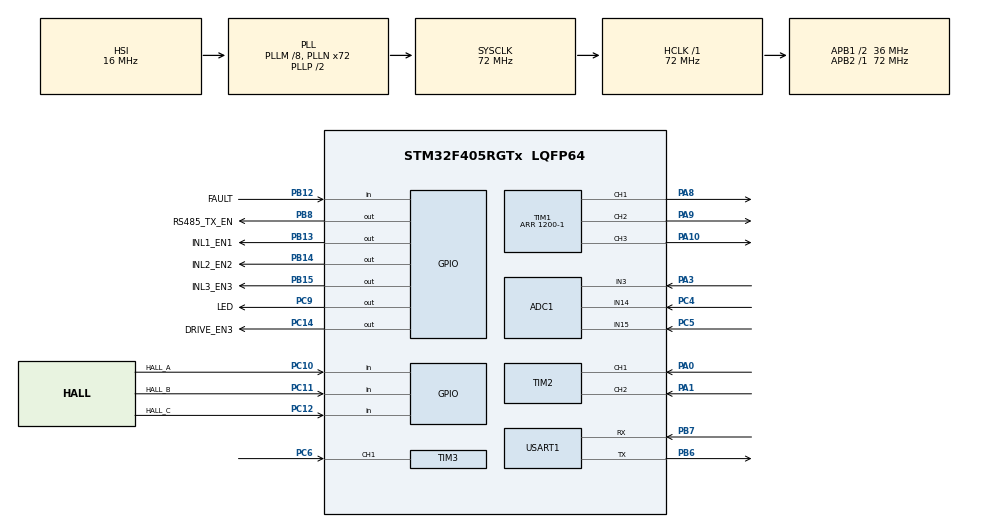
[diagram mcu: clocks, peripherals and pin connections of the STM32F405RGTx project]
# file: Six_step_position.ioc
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ADC1.Channel-0\#ChannelRegularConversion=ADC_CHANNEL_15
ADC1.Channel-10\#ChannelInjectedConversion=ADC_CHANNEL_15
ADC1.Channel-8\#ChannelInjectedConversion=ADC_CHANNEL_3
ADC1.Channel-9\#ChannelInjectedConversion=ADC_CHANNEL_14
ADC1.ClockPrescaler=ADC_CLOCK_SYNC_PCLK_DIV4
ADC1.ContinuousConvMode=DISABLE
ADC1.DMAContinuousRequests=DISABLE
ADC1.ExternalTrigInjecConv=ADC_EXTERNALTRIGINJECCONV_T1_TRGO
ADC1.InjNumberOfConversion=3
ADC1.InjectedOffset-10\#ChannelInjectedConversion=0
ADC1.InjectedOffset-8\#ChannelInjectedConversion=0
ADC1.InjectedOffset-9\#ChannelInjectedConversion=0
ADC1.InjectedRank-10\#ChannelInjectedConversion=3
ADC1.InjectedRank-8\#ChannelInjectedConversion=1
ADC1.InjectedRank-9\#ChannelInjectedConversion=2
ADC1.NbrOfConversion=1
ADC1.NbrOfConversionFlag=1
ADC1.Rank-0\#ChannelRegularConversion=1
ADC1.SamplingTime-0\#ChannelRegularConversion=ADC_SAMPLETIME_15CYCLES
ADC1.SamplingTime-10\#ChannelInjectedConversion=ADC_SAMPLETIME_28CYCLES
ADC1.SamplingTime-8\#ChannelInjectedConversion=ADC_SAMPLETIME_28CYCLES
ADC1.SamplingTime-9\#ChannelInjectedConversion=ADC_SAMPLETIME_28CYCLES
ADC1.master=1
Mcu.Family=STM32F4
Mcu.Name=STM32F405RGTx
Mcu.Package=LQFP64
NVIC.ADC_IRQn=true\:1\:0\:true\:false\:true\:true\:true\:true
NVIC.PriorityGroup=NVIC_PRIORITYGROUP_4
NVIC.TIM3_IRQn=true\:0\:0\:false\:false\:true\:true\:true\:true
NVIC.TIM6_DAC_IRQn=true\:2\:0\:true\:false\:true\:true\:true\:true
NVIC.USART1_IRQn=true\:0\:0\:false\:false\:true\:true\:true\:true
PA0-WKUP.Signal=S_TIM2_CH1_ETR
PA1.Signal=S_TIM2_CH2
PA10.Signal=S_TIM1_CH3
PA3.Signal=ADCx_IN3
PA8.Signal=S_TIM1_CH1
PA9.Signal=S_TIM1_CH2
PB12.GPIO_Label=FAULT
PB12.Signal=GPIO_Input
PB13.GPIO_Label=INL1_EN1
PB13.PinState=GPIO_PIN_RESET
PB13.Signal=GPIO_Output
PB14.GPIO_Label=INL2_EN2
PB14.Signal=GPIO_Output
PB15.GPIO_Label=INL3_EN3
PB15.Signal=GPIO_Output
PB6.Mode=Asynchronous
PB6.Signal=USART1_TX
PB7.Mode=Asynchronous
PB7.Signal=USART1_RX
PB8.GPIO_Label=RS485_TX_EN
PB8.Signal=GPIO_Output
PC10.GPIO_Label=HALL_A
PC10.Signal=GPIO_Input
PC11.GPIO_Label=HALL_B
PC11.Signal=GPIO_Input
PC12.GPIO_Label=HALL_C
PC12.Signal=GPIO_Input
PC14-OSC32_IN.GPIO_Label=DRIVE_EN3
PC14-OSC32_IN.Signal=GPIO_Output
PC4.Signal=ADCx_IN14
PC5.Signal=ADCx_IN15
PC6.Signal=S_TIM3_CH1
PC9.GPIO_Label=LED
PC9.Signal=GPIO_Output
ProjectManager.HeapSize=0x200
ProjectManager.StackSize=0x400
ProjectManager.TargetToolchain=STM32CubeIDE
RCC.48MHZClocksFreq_Value=36000000
RCC.AHBFreq_Value=72000000
RCC.APB1CLKDivider=RCC_HCLK_DIV2
RCC.APB1Freq_Value=36000000
RCC.APB1TimFreq_Value=72000000
RCC.APB2Freq_Value=72000000
RCC.APB2TimFreq_Value=72000000
RCC.CortexFreq_Value=72000000
RCC.HCLKFreq_Value=72000000
RCC.HSE_VALUE=25000000
RCC.HSI_VALUE=16000000
RCC.LSE_VALUE=32768
RCC.PLLM=8
RCC.PLLN=72
RCC.SYSCLKFreq_VALUE=72000000
RCC.SYSCLKSource=RCC_SYSCLKSOURCE_PLLCLK
RCC.VCOOutputFreq_Value=144000000
SH.ADCx_IN14.0=ADC1_IN14,IN14
SH.ADCx_IN15.0=ADC1_IN15,IN15
SH.ADCx_IN3.0=ADC1_IN3,IN3
SH.S_TIM1_CH1.0=TIM1_CH1,PWM Generation1 CH1
SH.S_TIM1_CH2.0=TIM1_CH2,PWM Generation2 CH2
SH.S_TIM1_CH3.0=TIM1_CH3,PWM Generation3 CH3
SH.S_TIM2_CH1_ETR.0=TIM2_CH1,Encoder_Interface
SH.S_TIM2_CH2.0=TIM2_CH2,Encoder_Interface
SH.S_TIM3_CH1.0=TIM3_CH1,Input_Capture1_from_TI1
TIM1.Channel-PWM\ Generation1\ CH1=TIM_CHANNEL_1
TIM1.Channel-PWM\ Generation2\ CH2=TIM_CHANNEL_2
TIM1.Channel-PWM\ Generation3\ CH3=TIM_CHANNEL_3
TIM1.Channel-PWM\ Generation4\ No\ Output=TIM_CHANNEL_4
TIM1.CounterMode=TIM_COUNTERMODE_CENTERALIGNED1
TIM1.Period=1200-1
TIM1.Pulse-PWM\ Generation4\ No\ Output=1199
TIM1.TIM_MasterOutputTrigger=TIM_TRGO_UPDATE
TIM2.EncoderMode=TIM_ENCODERMODE_TI12
TIM3.Channel-Input_Capture1_from_TI1=TIM_CHANNEL_1
TIM3.ICFilter_CH1=0
TIM3.Period=65535
TIM3.Prescaler=72-1
TIM6.Period=100-1
TIM6.Prescaler=720-1
USART1.VirtualMode=VM_ASYNC
VP_TIM1_VS_ClockSourceINT.Mode=Internal
VP_TIM1_VS_no_output4.Mode=PWM Generation4 No Output
VP_TIM3_VS_ClockSourceINT.Mode=Internal
VP_TIM6_VS_ClockSourceINT.Mode=Enable_Timer
board=custom

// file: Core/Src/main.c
/* USER CODE BEGIN Header */
/**
  ******************************************************************************
  * @file           : main.c
  * @brief          : Main program body
  ******************************************************************************
  * @attention
  *
  * Copyright (c) 2025 STMicroelectronics.
  * All rights reserved.
  *
  * This software is licensed under terms that can be found in the LICENSE file
  * in the root directory of this software component.
  * If no LICENSE file comes with this software, it is provided AS-IS.
  *
  ******************************************************************************
  */
/* USER CODE END Header */
#include "main.h"

/* USER CODE BEGIN Includes */
#include "math.h"
#include "dynamixel_protocol.h"
#include "control_table.h"
#include <stdbool.h>

/* USER CODE END Includes */

/* USER CODE BEGIN PD */
#define SECTOR_1 1
#define SECTOR_2 2
#define SECTOR_3 3
#define SECTOR_4 4
#define SECTOR_5 5
#define SECTOR_6 6
#define INVALID_SECTOR 0

// System Parameters
#define ADC_FREQUENCY 30000.0f					// ADC frequency
#define ADC_DT (1.0f / ADC_FREQUENCY)			// ADC period for current loop
#define V_BUS 24.0f      					    // DC bus voltage in Volts

// Encoder Parameters
#define ENCODER_PPR 4096  						// Encoder's Pulses Per Revolution
#define CONTROL_LOOP_DT 0.001f				    // Closed loop time step
#define ENCODER_TIMER_MAX_PERIOD 4294967295.0   // Maximum counter value for a 32-bit timer
#define CAPTURE_TIMER_CLK_FREQ 1000000.0f
#define ENCODER_MID_POINT 2147483647

// Current loop parameters
#define CALIBRATION_SAMPLES 2000
#define ADC_VREF 3.3f                   		// ADC reference voltage (V)
#define ADC_RESOLUTION 4096.0f          	 	// 12-bit ADC (0-4095)
#define SHUNT_RESISTOR 0.001f            		// Shunt resistor value in Ohms (1mΩ)
#define AD8417_GAIN 60.0f               		// AD8417BRMZ gain = 60 V/V

#define PWM_MAX_PULSE 1200.0f           		// (TIM1 Period - 1) = 1200 - 1
#define PWM_MIN_PULSE 0.0f

#define CURRENT_DEADPOINT 0.1f

#define GAIN_SCALER 	1000.0f
#define VELOCITY_SCALER 0.228881836f
#define POSITION_SCALER 0.087890625f
#define PWM_SCALER      0.112994350f

/* USER CODE END PD */

ADC_HandleTypeDef hadc1;

TIM_HandleTypeDef htim1;
TIM_HandleTypeDef htim2;
TIM_HandleTypeDef htim3;
TIM_HandleTypeDef htim6;

UART_HandleTypeDef huart1;

/* USER CODE BEGIN PV */

typedef enum {
    STATE_WAIT_HEADER_1,    // Waiting for the first 0xFF
    STATE_WAIT_HEADER_2,    // Waiting for the second 0xFF
    STATE_WAIT_HEADER_3,    // Waiting for 0xFD
    STATE_WAIT_RESERVED,    // Waiting for the reserved byte (0x00)
    STATE_RECEIVE_DATA      // Receiving the rest of the packet
} DXL_RX_STATE;

const uint8_t hall_to_sector_map_CW[8] = {
    INVALID_SECTOR,
    SECTOR_6, // Hall 1
    SECTOR_4, // Hall 2
    SECTOR_5, // Hall 3
    SECTOR_2, // Hall 4
    SECTOR_1, // Hall 5
    SECTOR_3, // Hall 6
    INVALID_SECTOR
};

const uint8_t hall_to_sector_map_CCW[8] = {
    INVALID_SECTOR,
    SECTOR_3, // Hall 1
    SECTOR_1, // Hall 2
    SECTOR_2, // Hall 3
    SECTOR_5, // Hall 4
    SECTOR_4, // Hall 5
    SECTOR_6, // Hall 6
    INVALID_SECTOR
};

typedef enum {
    PHASE_A,
    PHASE_B,
    PHASE_C
} BldcPhase;

typedef enum {
	CW,
	CCW,
	STOPPED
} MotorDirection;
uint8_t sector = 0;
uint8_t motor_fault = 0;

// DINAMIXEL Protocol variables
uint8_t  rxByte;                      		// Buffer for single byte reception
uint8_t  packetBuffer[64];            		// Buffer to build the full packet
uint16_t packetIndex = 0;             		// Current position in the packetBuffer
uint16_t packetLength = 0;            		// Expected length of the incoming packet
DXL_RX_STATE rxState = STATE_WAIT_HEADER_1; // Initial state

uint32_t counter;

volatile float latest_pulse_period_s = 0.0f;

volatile uint32_t ic_capture1 = 0;          // Stores the first capture timestamp
volatile uint32_t ic_capture2 = 0;          // Stores the second capture timestamp
volatile uint32_t capture_diff = 0;         // Stores the time difference between captures
volatile uint8_t is_first_capture = 1;      // Flag to handle the very first pulse
volatile uint8_t new_capture_event = 0;     // Flag set by ISR to signal new data

volatile uint32_t adc_cur_c, adc_cur_b, adc_cur_a;

volatile float current_a = 0.0f;
volatile float current_b = 0.0f;
volatile float current_c = 0.0f;

// Current control variables
volatile uint16_t current_a_offset_adc = 0;
volatile uint16_t current_b_offset_adc = 0;
volatile uint16_t current_c_offset_adc = 0;

volatile float current_integral = 0.0f;

// Velocity control variables
volatile float previous_velocity_error = 0.0f;
volatile float velocity_integral = 0.0f;

// Position control variables
volatile float angle_error = 0.0f;
volatile float previous_angle_error = 0.0f;
volatile float angle_integral = 0.0f;

void convert_adc_to_current(void);
void getActivePhaseCurrent(void);
uint16_t current_pi_controller(void);
float velocity_pid_controller(void);
float position_pid_controller(void);
void calculate_speed_from_capture(void);
void sixStepCommutation(uint8_t sector, uint16_t pwm_duty);
void update_angle_from_encoder(void);
void calibrate_current_sensors(void);
void reset_pid_controllers(void);
void torque_enable(void);
void torque_disable(void);

//volatile uint16_t pwm_duty = 0.0f;
MotorDirection direction = CW;
//uint8_t motor_stop = 0;

/* USER CODE END PV */

void SystemClock_Config(void);
static void MX_GPIO_Init(void);
static void MX_TIM1_Init(void);
static void MX_TIM2_Init(void);
static void MX_ADC1_Init(void);
static void MX_TIM3_Init(void);
static void MX_USART1_UART_Init(void);
static void MX_TIM6_Init(void);

/* USER CODE BEGIN 0 */
uint16_t current_pi_controller(void)
{
    // Error in amperes
    float current_error = (fabs(control_table.goal_current) - fabs(control_table.present_current)) / GAIN_SCALER;

    // Integral
    current_integral += current_error * ADC_DT;

    // Integral anti-windup
    if (current_integral > 50.0f) {
    	current_integral = 50.0f;
    } else if (current_integral < -50.0f) {
    	current_integral = -50.0f;
    }

    // PI output
    float p_term = current_error * (control_table.current_p_gain / GAIN_SCALER);
    float i_term = current_integral * (control_table.current_i_gain / GAIN_SCALER);
    float pi_output = p_term + i_term;

    // Convert target voltage to PWM duty cycle
    float pid = (pi_output / V_BUS) * PWM_MAX_PULSE;

    // Saturate
    if (pid > control_table.pwm_limit) {
    	pid = control_table.pwm_limit;
    } else if (pid < 0.0f) {
    	pid = 0.0f;
    }

    if (pid < 30.0f) {
    	pid = 0.0f;
    }

    return (uint16_t) pid;
}

float velocity_pid_controller(void)
{
	// Error
	float velocity_error = VELOCITY_SCALER * (control_table.goal_velocity - control_table.present_velocity);

	// P term
	float p_term = (control_table.velocity_p_gain / GAIN_SCALER) * velocity_error;

	// Integral
	velocity_integral += velocity_error * CONTROL_LOOP_DT;

	// Integral anti-windup
	if (velocity_integral > 100.0f) velocity_integral  = 100.0f;
	if (velocity_integral < -100.0f) velocity_integral = -100.0f;

	// I term
	float i_term = (control_table.velocity_i_gain / GAIN_SCALER) * velocity_integral;

	float desired_current = (p_term + i_term) * GAIN_SCALER;

	// Saturate
	if (desired_current > control_table.current_limit) {
		desired_current = control_table.current_limit;
	} else if (desired_current < -control_table.current_limit) {
		desired_current = -control_table.current_limit;
	}

	return desired_current;
}

float position_pid_controller(void) {

    float angle_error = control_table.goal_position - control_table.present_position;

    float p_term = (control_table.position_p_gain / GAIN_SCALER) * angle_error;
    angle_integral += angle_error * CONTROL_LOOP_DT;
    float i_term = (control_table.position_i_gain / GAIN_SCALER) * angle_integral;

    float derivative = (angle_error - previous_angle_error) / CONTROL_LOOP_DT;

    float d_term = (control_table.position_d_gain / GAIN_SCALER) * derivative;
    previous_angle_error = angle_error;
    float desired_speed = p_term + i_term + d_term;

    // Saturate
    if (desired_speed > control_table.velocity_limit) {
    	desired_speed = control_table.velocity_limit;
    } else if (desired_speed < -control_table.velocity_limit) {
    	desired_speed = -control_table.velocity_limit;
    }

    return desired_speed;
}

void convert_adc_to_current(void)
{
    // Calculate the signed difference from the calibrated zero-current ADC value
    int32_t adc_delta_a = (int32_t)adc_cur_a - (int32_t)current_a_offset_adc;
    int32_t adc_delta_b = (int32_t)adc_cur_b - (int32_t)current_b_offset_adc;
    int32_t adc_delta_c = (int32_t)adc_cur_c - (int32_t)current_c_offset_adc;

    // Convert the ADC count difference directly to current
    // I = (ADC_delta / ADC_Resolution) * V_ref / (Gain * R_shunt)
    float volts_per_adc_count = ADC_VREF / ADC_RESOLUTION;
    float conversion_factor = volts_per_adc_count / (AD8417_GAIN * SHUNT_RESISTOR);

    current_a = (float)adc_delta_a * conversion_factor;
    current_b = (float)adc_delta_b * conversion_factor;
    current_c = (float)adc_delta_c * conversion_factor;
}

void calibrate_current_sensors(void)
{
    uint32_t offset_a_sum = 0;
    uint32_t offset_b_sum = 0;
    uint32_t offset_c_sum = 0;

    HAL_GPIO_WritePin(DRIVE_EN3_GPIO_Port, DRIVE_EN3_Pin, GPIO_PIN_RESET);
    HAL_Delay(10);

    for (int i = 0; i < CALIBRATION_SAMPLES; i++)
    {
        // Read Phase C (ADC1_IN3)
        ADC_ChannelConfTypeDef sConfig = {0};
        sConfig.Channel = ADC_CHANNEL_3;
        sConfig.Rank = 1;
        HAL_ADC_ConfigChannel(&hadc1, &sConfig);
        HAL_ADC_Start(&hadc1);
        HAL_ADC_PollForConversion(&hadc1, 10);
        offset_c_sum += HAL_ADC_GetValue(&hadc1);

        // Read Phase B (ADC1_IN14)
        sConfig.Channel = ADC_CHANNEL_14;
        HAL_ADC_ConfigChannel(&hadc1, &sConfig);
        HAL_ADC_Start(&hadc1);
        HAL_ADC_PollForConversion(&hadc1, 10);
        offset_b_sum += HAL_ADC_GetValue(&hadc1);

        // Read Phase A (ADC1_IN15)
        sConfig.Channel = ADC_CHANNEL_15;
        HAL_ADC_ConfigChannel(&hadc1, &sConfig);
        HAL_ADC_Start(&hadc1);
        HAL_ADC_PollForConversion(&hadc1, 10);
        offset_a_sum += HAL_ADC_GetValue(&hadc1);
    }
    HAL_ADC_Stop(&hadc1);

    // Calculate the average offset
    current_a_offset_adc = offset_a_sum / CALIBRATION_SAMPLES;
    current_b_offset_adc = offset_b_sum / CALIBRATION_SAMPLES;
    current_c_offset_adc = offset_c_sum / CALIBRATION_SAMPLES;
}

void calculate_speed_from_capture(void)
{
    static float filtered_velocity_raw = 0.0f;
    static uint32_t last_valid_period_tick = 0;

    float pulse_period_s = latest_pulse_period_s;

    if (pulse_period_s > 0.0f) {
        last_valid_period_tick = HAL_GetTick();
        latest_pulse_period_s = 0.0f;
    }

    if (HAL_GetTick() - last_valid_period_tick > 100) {
        control_table.present_velocity = 0;
        filtered_velocity_raw = 0.0f;
        is_first_capture = 1;
        return;
    }

    if (pulse_period_s > 0.0f)
    {
        float speed_rps = (1.0f / (ENCODER_PPR * 4.0f)) / pulse_period_s;
        float new_speed_rpm = speed_rps * 60.0f;
        float new_velocity_raw = new_speed_rpm / VELOCITY_SCALER;

        const float alpha = 0.8f;
        filtered_velocity_raw = (alpha * filtered_velocity_raw) + ((1.0f - alpha) * new_velocity_raw);

        int8_t dir = __HAL_TIM_IS_TIM_COUNTING_DOWN(&htim2) ? 1 : -1;

        control_table.present_velocity = (int32_t)(filtered_velocity_raw * dir);
    }
}

void update_angle_from_encoder(void)
{
	int32_t current_position = (int32_t)__HAL_TIM_GET_COUNTER(&htim2) / 4;
	control_table.present_position = current_position;
}

uint8_t read_hall_sensors(void)
{
	uint8_t hall_state = 0;
	hall_state = HAL_GPIO_ReadPin(HALL_A_GPIO_Port, HALL_A_Pin);	// Read Hall A (MSB)
	hall_state <<= 1;
	hall_state |= HAL_GPIO_ReadPin(HALL_B_GPIO_Port, HALL_B_Pin);	// Read Hall B
	hall_state <<= 1;
	hall_state |= HAL_GPIO_ReadPin(HALL_C_GPIO_Port, HALL_C_Pin);	// Read Hall C (LSB)

	return hall_state;	// A -> B -> C
}

void reset_pid_controllers(void)
{
	current_integral = 0;
	velocity_integral = 0;
	angle_integral = 0;

	previous_velocity_error = 0.0f;
	velocity_integral = 0.0f;
}

void torque_enable(void)
{
	control_table.torque_enable = 1;

	reset_pid_controllers();

	direction = STOPPED;

    // Enable main driver.
    HAL_GPIO_WritePin(DRIVE_EN3_GPIO_Port, DRIVE_EN3_Pin, GPIO_PIN_SET);

    // Read initial hall state and set initial commutation
    uint8_t initial_hall_state = read_hall_sensors();
    sector = hall_to_sector_map_CW[initial_hall_state & 0x07];
    sixStepCommutation(sector, 0);
}

void torque_disable(void)
{
	control_table.torque_enable = 0;

	// Disable main driver.
	HAL_GPIO_WritePin(DRIVE_EN3_GPIO_Port, DRIVE_EN3_Pin, GPIO_PIN_RESET);

    HAL_GPIO_WritePin(INL1_EN1_GPIO_Port, INL1_EN1_Pin, GPIO_PIN_RESET);
    HAL_GPIO_WritePin(INL2_EN2_GPIO_Port, INL2_EN2_Pin, GPIO_PIN_RESET);
    HAL_GPIO_WritePin(INL3_EN3_GPIO_Port, INL3_EN3_Pin, GPIO_PIN_RESET);
}

/**
 * @brief Turns the High-Side ON (with PWM) and the Low-Side OFF.
 * @param phase: The motor phase (PHASE_A, PHASE_B, or PHASE_C).
 * @param pwm_duty: The PWM duty cycle value.
 */
void SetPhase_PWM(BldcPhase phase, uint16_t pwm_duty)
{
    switch(phase)
    {
        case PHASE_A:
        	// High-side ON
            __HAL_TIM_SET_COMPARE(&htim1, TIM_CHANNEL_1, pwm_duty);
            // Output enable
            HAL_GPIO_WritePin(INL1_EN1_GPIO_Port, INL1_EN1_Pin, GPIO_PIN_SET);
            break;
        case PHASE_B:
            __HAL_TIM_SET_COMPARE(&htim1, TIM_CHANNEL_2, pwm_duty);
            HAL_GPIO_WritePin(INL2_EN2_GPIO_Port, INL2_EN2_Pin, GPIO_PIN_SET);
            break;
        case PHASE_C:
            __HAL_TIM_SET_COMPARE(&htim1, TIM_CHANNEL_3, pwm_duty);
            HAL_GPIO_WritePin(INL3_EN3_GPIO_Port, INL3_EN3_Pin, GPIO_PIN_SET);
            break;
    }
}

/**
 * @brief Turns the High-Side OFF and the Low-Side ON.
 * @param phase: The motor phase.
 */
void SetPhase_GND(BldcPhase phase)
{
    switch(phase)
    {
        case PHASE_A:
        	// High-side OFF (0% duty cycle)
            __HAL_TIM_SET_COMPARE(&htim1, TIM_CHANNEL_1, 0);
            // Output enable
            HAL_GPIO_WritePin(INL1_EN1_GPIO_Port, INL1_EN1_Pin, GPIO_PIN_SET);
            break;
        case PHASE_B:
            __HAL_TIM_SET_COMPARE(&htim1, TIM_CHANNEL_2, 0);
            HAL_GPIO_WritePin(INL2_EN2_GPIO_Port, INL2_EN2_Pin, GPIO_PIN_SET);
            break;
        case PHASE_C:
            __HAL_TIM_SET_COMPARE(&htim1, TIM_CHANNEL_3, 0);
            HAL_GPIO_WritePin(INL3_EN3_GPIO_Port, INL3_EN3_Pin, GPIO_PIN_SET);
            break;
    }
}

/**
 * @brief Disconnects a phase (High-Z).
 * @note Turns BOTH the High-Side and Low-Side OFF.
 * @param phase: The motor phase (PHASE_A, PHASE_B, or PHASE_C).
 */
void SetPhase_FLOAT(BldcPhase phase)
{
    switch(phase)
    {
        case PHASE_A:
            // Output disable
            HAL_GPIO_WritePin(INL1_EN1_GPIO_Port, INL1_EN1_Pin, GPIO_PIN_RESET);
            break;
        case PHASE_B:
            HAL_GPIO_WritePin(INL2_EN2_GPIO_Port, INL2_EN2_Pin, GPIO_PIN_RESET);
            break;
        case PHASE_C:
            HAL_GPIO_WritePin(INL3_EN3_GPIO_Port, INL3_EN3_Pin, GPIO_PIN_RESET);
            break;
    }
}

void sixStepCommutation(uint8_t sector, uint16_t pwm_duty_cycle) {
	switch (sector) {
		case SECTOR_1: // Hall state: 5
			SetPhase_PWM(PHASE_B, pwm_duty_cycle);
			SetPhase_GND(PHASE_C);
			SetPhase_FLOAT(PHASE_A);
			break;

		case SECTOR_2: // Hall state: 4
			SetPhase_PWM(PHASE_B, pwm_duty_cycle);
			SetPhase_GND(PHASE_A);
			SetPhase_FLOAT(PHASE_C);
			break;

		case SECTOR_3: // Hall state: 6
			SetPhase_PWM(PHASE_C, pwm_duty_cycle);
			SetPhase_GND(PHASE_A);
			SetPhase_FLOAT(PHASE_B);
			break;

		case SECTOR_4: // Hall state: 2
			SetPhase_PWM(PHASE_C, pwm_duty_cycle);
			SetPhase_GND(PHASE_B);
			SetPhase_FLOAT(PHASE_A);
			break;

		case SECTOR_5: // Hall state: 3
			SetPhase_PWM(PHASE_A, pwm_duty_cycle);
			SetPhase_GND(PHASE_B);
			SetPhase_FLOAT(PHASE_C);
			break;

		case SECTOR_6: // Hall state: 1
			SetPhase_PWM(PHASE_A, pwm_duty_cycle);
			SetPhase_GND(PHASE_C);
			SetPhase_FLOAT(PHASE_B);
			break;

		default:
			SetPhase_FLOAT(PHASE_A);
			SetPhase_FLOAT(PHASE_B);
			SetPhase_FLOAT(PHASE_C);
			break;
	}
}

void getActivePhaseCurrent(void)
{
	float current_magnitude = 0.0f;

	switch (sector) {
			case SECTOR_2:
			case SECTOR_3:
				current_magnitude = current_a * GAIN_SCALER;
				break;

			case SECTOR_4:
			case SECTOR_5:
				current_magnitude = current_b * GAIN_SCALER;
				break;

			case SECTOR_1:
			case SECTOR_6:
				current_magnitude = current_c * GAIN_SCALER;
				break;

			default:
				control_table.present_current = 0.0f;
				break;
		}

	if (direction == CW) {
		control_table.present_current = -fabs(current_magnitude);
	} else if (direction == CCW) {
		control_table.present_current = fabs(current_magnitude);
	}
}

/* USER CODE END 0 */

int main(void)
{

  /* MCU Configuration--------------------------------------------------------*/

  /* Reset of all peripherals, Initializes the Flash interface and the Systick. */
  HAL_Init();

  /* Configure the system clock */
  SystemClock_Config();

  /* Initialize all configured peripherals */
  MX_GPIO_Init();
  MX_TIM1_Init();
  MX_TIM2_Init();
  MX_ADC1_Init();
  MX_TIM3_Init();
  MX_USART1_UART_Init();
  MX_TIM6_Init();
  /* USER CODE BEGIN 2 */

  // Initialize control table variables
  control_table_init();

  // Start as receive mode
  RS485_RX_ENABLE();

  // Read one bytes of data in the interrupt mode
  HAL_UART_Receive_IT(&huart1, &rxByte, 1);

  // Calibrate current adc offset
  calibrate_current_sensors();

  torque_enable();

  // Start timer1
  HAL_TIM_Base_Start(&htim1);

  // Start three phase PWM
  HAL_TIM_PWM_Start(&htim1, TIM_CHANNEL_1);
  HAL_TIM_PWM_Start(&htim1, TIM_CHANNEL_2);
  HAL_TIM_PWM_Start(&htim1, TIM_CHANNEL_3);

  // Start ADC interrupt timer
  HAL_TIM_PWM_Start(&htim1, TIM_CHANNEL_4);

  // ADC injected mode with interrupt
  HAL_ADCEx_InjectedStart_IT(&hadc1);

  // Start Timer2 as Encoder mode
  HAL_TIM_Encoder_Start(&htim2, TIM_CHANNEL_ALL);

  // Start Timer3 for input capture timer
  HAL_TIM_IC_Start_IT(&htim3, TIM_CHANNEL_1);

  // Start Timer4 for velocity loop
  HAL_TIM_Base_Start_IT(&htim6);

  torque_disable();

  /* USER CODE END 2 */

  /* Infinite loop */
  /* USER CODE BEGIN WHILE */
  while (1)
  {
	  if (HAL_GPIO_ReadPin(FAULT_GPIO_Port, FAULT_Pin) == GPIO_PIN_RESET) {
		  motor_fault = 1;
		  torque_disable();
	  }

	  if (control_table.led == 1) {
		  HAL_GPIO_WritePin(LED_GPIO_Port, LED_Pin, GPIO_PIN_RESET);
	  } else {
		  HAL_GPIO_WritePin(LED_GPIO_Port, LED_Pin, GPIO_PIN_SET);
	  }

    /* USER CODE END WHILE */

  }
}

void SystemClock_Config(void)
{
  RCC_OscInitTypeDef RCC_OscInitStruct = {0};
  RCC_ClkInitTypeDef RCC_ClkInitStruct = {0};

  /** Configure the main internal regulator output voltage
  */
  __HAL_RCC_PWR_CLK_ENABLE();
  __HAL_PWR_VOLTAGESCALING_CONFIG(PWR_REGULATOR_VOLTAGE_SCALE1);

  /** Initializes the RCC Oscillators according to the specified parameters
  * in the RCC_OscInitTypeDef structure.
  */
  RCC_OscInitStruct.OscillatorType = RCC_OSCILLATORTYPE_HSI;
  RCC_OscInitStruct.HSIState = RCC_HSI_ON;
  RCC_OscInitStruct.HSICalibrationValue = RCC_HSICALIBRATION_DEFAULT;
  RCC_OscInitStruct.PLL.PLLState = RCC_PLL_ON;
  RCC_OscInitStruct.PLL.PLLSource = RCC_PLLSOURCE_HSI;
  RCC_OscInitStruct.PLL.PLLM = 8;
  RCC_OscInitStruct.PLL.PLLN = 72;
  RCC_OscInitStruct.PLL.PLLP = RCC_PLLP_DIV2;
  RCC_OscInitStruct.PLL.PLLQ = 4;
  if (HAL_RCC_OscConfig(&RCC_OscInitStruct) != HAL_OK)
  {
    Error_Handler();
  }

  /** Initializes the CPU, AHB and APB buses clocks
  */
  RCC_ClkInitStruct.ClockType = RCC_CLOCKTYPE_HCLK|RCC_CLOCKTYPE_SYSCLK
                              |RCC_CLOCKTYPE_PCLK1|RCC_CLOCKTYPE_PCLK2;
  RCC_ClkInitStruct.SYSCLKSource = RCC_SYSCLKSOURCE_PLLCLK;
  RCC_ClkInitStruct.AHBCLKDivider = RCC_SYSCLK_DIV1;
  RCC_ClkInitStruct.APB1CLKDivider = RCC_HCLK_DIV2;
  RCC_ClkInitStruct.APB2CLKDivider = RCC_HCLK_DIV1;

  if (HAL_RCC_ClockConfig(&RCC_ClkInitStruct, FLASH_LATENCY_2) != HAL_OK)
  {
    Error_Handler();
  }
}

static void MX_ADC1_Init(void)
{

  ADC_ChannelConfTypeDef sConfig = {0};
  ADC_InjectionConfTypeDef sConfigInjected = {0};

  /** Configure the global features of the ADC (Clock, Resolution, Data Alignment and number of conversion)
  */
  hadc1.Instance = ADC1;
  hadc1.Init.ClockPrescaler = ADC_CLOCK_SYNC_PCLK_DIV4;
  hadc1.Init.Resolution = ADC_RESOLUTION_12B;
  hadc1.Init.ScanConvMode = ENABLE;
  hadc1.Init.ContinuousConvMode = DISABLE;
  hadc1.Init.DiscontinuousConvMode = DISABLE;
  hadc1.Init.ExternalTrigConvEdge = ADC_EXTERNALTRIGCONVEDGE_NONE;
  hadc1.Init.ExternalTrigConv = ADC_SOFTWARE_START;
  hadc1.Init.DataAlign = ADC_DATAALIGN_RIGHT;
  hadc1.Init.NbrOfConversion = 1;
  hadc1.Init.DMAContinuousRequests = DISABLE;
  hadc1.Init.EOCSelection = ADC_EOC_SINGLE_CONV;
  if (HAL_ADC_Init(&hadc1) != HAL_OK)
  {
    Error_Handler();
  }

  /** Configure for the selected ADC regular channel its corresponding rank in the sequencer and its sample time.
  */
  sConfig.Channel = ADC_CHANNEL_15;
  sConfig.Rank = 1;
  sConfig.SamplingTime = ADC_SAMPLETIME_15CYCLES;
  if (HAL_ADC_ConfigChannel(&hadc1, &sConfig) != HAL_OK)
  {
    Error_Handler();
  }

  /** Configures for the selected ADC injected channel its corresponding rank in the sequencer and its sample time
  */
  sConfigInjected.InjectedChannel = ADC_CHANNEL_3;
  sConfigInjected.InjectedRank = 1;
  sConfigInjected.InjectedNbrOfConversion = 3;
  sConfigInjected.InjectedSamplingTime = ADC_SAMPLETIME_28CYCLES;
  sConfigInjected.ExternalTrigInjecConvEdge = ADC_EXTERNALTRIGINJECCONVEDGE_RISING;
  sConfigInjected.ExternalTrigInjecConv = ADC_EXTERNALTRIGINJECCONV_T1_TRGO;
  sConfigInjected.AutoInjectedConv = DISABLE;
  sConfigInjected.InjectedDiscontinuousConvMode = DISABLE;
  sConfigInjected.InjectedOffset = 0;
  if (HAL_ADCEx_InjectedConfigChannel(&hadc1, &sConfigInjected) != HAL_OK)
  {
    Error_Handler();
  }

  /** Configures for the selected ADC injected channel its corresponding rank in the sequencer and its sample time
  */
  sConfigInjected.InjectedChannel = ADC_CHANNEL_14;
  sConfigInjected.InjectedRank = 2;
  if (HAL_ADCEx_InjectedConfigChannel(&hadc1, &sConfigInjected) != HAL_OK)
  {
    Error_Handler();
  }

  /** Configures for the selected ADC injected channel its corresponding rank in the sequencer and its sample time
  */
  sConfigInjected.InjectedChannel = ADC_CHANNEL_15;
  sConfigInjected.InjectedRank = 3;
  if (HAL_ADCEx_InjectedConfigChannel(&hadc1, &sConfigInjected) != HAL_OK)
  {
    Error_Handler();
  }

}

static void MX_TIM1_Init(void)
{

  TIM_ClockConfigTypeDef sClockSourceConfig = {0};
  TIM_MasterConfigTypeDef sMasterConfig = {0};
  TIM_OC_InitTypeDef sConfigOC = {0};
  TIM_BreakDeadTimeConfigTypeDef sBreakDeadTimeConfig = {0};

  htim1.Instance = TIM1;
  htim1.Init.Prescaler = 0;
  htim1.Init.CounterMode = TIM_COUNTERMODE_CENTERALIGNED1;
  htim1.Init.Period = 1200-1;
  htim1.Init.ClockDivision = TIM_CLOCKDIVISION_DIV1;
  htim1.Init.RepetitionCounter = 0;
  htim1.Init.AutoReloadPreload = TIM_AUTORELOAD_PRELOAD_DISABLE;
  if (HAL_TIM_Base_Init(&htim1) != HAL_OK)
  {
    Error_Handler();
  }
  sClockSourceConfig.ClockSource = TIM_CLOCKSOURCE_INTERNAL;
  if (HAL_TIM_ConfigClockSource(&htim1, &sClockSourceConfig) != HAL_OK)
  {
    Error_Handler();
  }
  if (HAL_TIM_PWM_Init(&htim1) != HAL_OK)
  {
    Error_Handler();
  }
  sMasterConfig.MasterOutputTrigger = TIM_TRGO_UPDATE;
  sMasterConfig.MasterSlaveMode = TIM_MASTERSLAVEMODE_DISABLE;
  if (HAL_TIMEx_MasterConfigSynchronization(&htim1, &sMasterConfig) != HAL_OK)
  {
    Error_Handler();
  }
  sConfigOC.OCMode = TIM_OCMODE_PWM1;
  sConfigOC.Pulse = 0;
  sConfigOC.OCPolarity = TIM_OCPOLARITY_HIGH;
  sConfigOC.OCNPolarity = TIM_OCNPOLARITY_HIGH;
  sConfigOC.OCFastMode = TIM_OCFAST_DISABLE;
  sConfigOC.OCIdleState = TIM_OCIDLESTATE_RESET;
  sConfigOC.OCNIdleState = TIM_OCNIDLESTATE_RESET;
  if (HAL_TIM_PWM_ConfigChannel(&htim1, &sConfigOC, TIM_CHANNEL_1) != HAL_OK)
  {
    Error_Handler();
  }
  if (HAL_TIM_PWM_ConfigChannel(&htim1, &sConfigOC, TIM_CHANNEL_2) != HAL_OK)
  {
    Error_Handler();
  }
  if (HAL_TIM_PWM_ConfigChannel(&htim1, &sConfigOC, TIM_CHANNEL_3) != HAL_OK)
  {
    Error_Handler();
  }
  sConfigOC.Pulse = 1199;
  if (HAL_TIM_PWM_ConfigChannel(&htim1, &sConfigOC, TIM_CHANNEL_4) != HAL_OK)
  {
    Error_Handler();
  }
  sBreakDeadTimeConfig.OffStateRunMode = TIM_OSSR_DISABLE;
  sBreakDeadTimeConfig.OffStateIDLEMode = TIM_OSSI_DISABLE;
  sBreakDeadTimeConfig.LockLevel = TIM_LOCKLEVEL_OFF;
  sBreakDeadTimeConfig.DeadTime = 0;
  sBreakDeadTimeConfig.BreakState = TIM_BREAK_DISABLE;
  sBreakDeadTimeConfig.BreakPolarity = TIM_BREAKPOLARITY_HIGH;
  sBreakDeadTimeConfig.AutomaticOutput = TIM_AUTOMATICOUTPUT_DISABLE;
  if (HAL_TIMEx_ConfigBreakDeadTime(&htim1, &sBreakDeadTimeConfig) != HAL_OK)
  {
    Error_Handler();
  }
  HAL_TIM_MspPostInit(&htim1);

}

static void MX_TIM2_Init(void)
{

  TIM_Encoder_InitTypeDef sConfig = {0};
  TIM_MasterConfigTypeDef sMasterConfig = {0};

  htim2.Instance = TIM2;
  htim2.Init.Prescaler = 0;
  htim2.Init.CounterMode = TIM_COUNTERMODE_UP;
  htim2.Init.Period = 4294967295;
  htim2.Init.ClockDivision = TIM_CLOCKDIVISION_DIV1;
  htim2.Init.AutoReloadPreload = TIM_AUTORELOAD_PRELOAD_DISABLE;
  sConfig.EncoderMode = TIM_ENCODERMODE_TI12;
  sConfig.IC1Polarity = TIM_ICPOLARITY_RISING;
  sConfig.IC1Selection = TIM_ICSELECTION_DIRECTTI;
  sConfig.IC1Prescaler = TIM_ICPSC_DIV1;
  sConfig.IC1Filter = 0;
  sConfig.IC2Polarity = TIM_ICPOLARITY_RISING;
  sConfig.IC2Selection = TIM_ICSELECTION_DIRECTTI;
  sConfig.IC2Prescaler = TIM_ICPSC_DIV1;
  sConfig.IC2Filter = 0;
  if (HAL_TIM_Encoder_Init(&htim2, &sConfig) != HAL_OK)
  {
    Error_Handler();
  }
  sMasterConfig.MasterOutputTrigger = TIM_TRGO_RESET;
  sMasterConfig.MasterSlaveMode = TIM_MASTERSLAVEMODE_DISABLE;
  if (HAL_TIMEx_MasterConfigSynchronization(&htim2, &sMasterConfig) != HAL_OK)
  {
    Error_Handler();
  }

}

static void MX_TIM3_Init(void)
{

  TIM_ClockConfigTypeDef sClockSourceConfig = {0};
  TIM_MasterConfigTypeDef sMasterConfig = {0};
  TIM_IC_InitTypeDef sConfigIC = {0};

  htim3.Instance = TIM3;
  htim3.Init.Prescaler = 72-1;
  htim3.Init.CounterMode = TIM_COUNTERMODE_UP;
  htim3.Init.Period = 65535;
  htim3.Init.ClockDivision = TIM_CLOCKDIVISION_DIV1;
  htim3.Init.AutoReloadPreload = TIM_AUTORELOAD_PRELOAD_DISABLE;
  if (HAL_TIM_Base_Init(&htim3) != HAL_OK)
  {
    Error_Handler();
  }
  sClockSourceConfig.ClockSource = TIM_CLOCKSOURCE_INTERNAL;
  if (HAL_TIM_ConfigClockSource(&htim3, &sClockSourceConfig) != HAL_OK)
  {
    Error_Handler();
  }
  if (HAL_TIM_IC_Init(&htim3) != HAL_OK)
  {
    Error_Handler();
  }
  sMasterConfig.MasterOutputTrigger = TIM_TRGO_RESET;
  sMasterConfig.MasterSlaveMode = TIM_MASTERSLAVEMODE_DISABLE;
  if (HAL_TIMEx_MasterConfigSynchronization(&htim3, &sMasterConfig) != HAL_OK)
  {
    Error_Handler();
  }
  sConfigIC.ICPolarity = TIM_INPUTCHANNELPOLARITY_RISING;
  sConfigIC.ICSelection = TIM_ICSELECTION_DIRECTTI;
  sConfigIC.ICPrescaler = TIM_ICPSC_DIV1;
  sConfigIC.ICFilter = 0;
  if (HAL_TIM_IC_ConfigChannel(&htim3, &sConfigIC, TIM_CHANNEL_1) != HAL_OK)
  {
    Error_Handler();
  }

}

static void MX_TIM6_Init(void)
{

  TIM_MasterConfigTypeDef sMasterConfig = {0};

  htim6.Instance = TIM6;
  htim6.Init.Prescaler = 720-1;
  htim6.Init.CounterMode = TIM_COUNTERMODE_UP;
  htim6.Init.Period = 100-1;
  htim6.Init.AutoReloadPreload = TIM_AUTORELOAD_PRELOAD_DISABLE;
  if (HAL_TIM_Base_Init(&htim6) != HAL_OK)
  {
    Error_Handler();
  }
  sMasterConfig.MasterOutputTrigger = TIM_TRGO_RESET;
  sMasterConfig.MasterSlaveMode = TIM_MASTERSLAVEMODE_DISABLE;
  if (HAL_TIMEx_MasterConfigSynchronization(&htim6, &sMasterConfig) != HAL_OK)
  {
    Error_Handler();
  }

}

static void MX_USART1_UART_Init(void)
{

  huart1.Instance = USART1;
  huart1.Init.BaudRate = 115200;
  huart1.Init.WordLength = UART_WORDLENGTH_8B;
  huart1.Init.StopBits = UART_STOPBITS_1;
  huart1.Init.Parity = UART_PARITY_NONE;
  huart1.Init.Mode = UART_MODE_TX_RX;
  huart1.Init.HwFlowCtl = UART_HWCONTROL_NONE;
  huart1.Init.OverSampling = UART_OVERSAMPLING_16;
  if (HAL_UART_Init(&huart1) != HAL_OK)
  {
    Error_Handler();
  }

}

static void MX_GPIO_Init(void)
{
  GPIO_InitTypeDef GPIO_InitStruct = {0};

  /* GPIO Ports Clock Enable */
  __HAL_RCC_GPIOC_CLK_ENABLE();
  __HAL_RCC_GPIOA_CLK_ENABLE();
  __HAL_RCC_GPIOB_CLK_ENABLE();

  /*Configure GPIO pin Output Level */
  HAL_GPIO_WritePin(GPIOC, DRIVE_EN3_Pin|LED_Pin, GPIO_PIN_RESET);

  /*Configure GPIO pin Output Level */
  HAL_GPIO_WritePin(GPIOB, INL1_EN1_Pin|INL2_EN2_Pin|INL3_EN3_Pin|RS485_TX_EN_Pin, GPIO_PIN_RESET);

  /*Configure GPIO pins : DRIVE_EN3_Pin LED_Pin */
  GPIO_InitStruct.Pin = DRIVE_EN3_Pin|LED_Pin;
  GPIO_InitStruct.Mode = GPIO_MODE_OUTPUT_PP;
  GPIO_InitStruct.Pull = GPIO_NOPULL;
  GPIO_InitStruct.Speed = GPIO_SPEED_FREQ_LOW;
  HAL_GPIO_Init(GPIOC, &GPIO_InitStruct);

  /*Configure GPIO pin : FAULT_Pin */
  GPIO_InitStruct.Pin = FAULT_Pin;
  GPIO_InitStruct.Mode = GPIO_MODE_INPUT;
  GPIO_InitStruct.Pull = GPIO_NOPULL;
  HAL_GPIO_Init(FAULT_GPIO_Port, &GPIO_InitStruct);

  /*Configure GPIO pins : INL1_EN1_Pin INL2_EN2_Pin INL3_EN3_Pin RS485_TX_EN_Pin */
  GPIO_InitStruct.Pin = INL1_EN1_Pin|INL2_EN2_Pin|INL3_EN3_Pin|RS485_TX_EN_Pin;
  GPIO_InitStruct.Mode = GPIO_MODE_OUTPUT_PP;
  GPIO_InitStruct.Pull = GPIO_NOPULL;
  GPIO_InitStruct.Speed = GPIO_SPEED_FREQ_LOW;
  HAL_GPIO_Init(GPIOB, &GPIO_InitStruct);

  /*Configure GPIO pins : HALL_A_Pin HALL_B_Pin HALL_C_Pin */
  GPIO_InitStruct.Pin = HALL_A_Pin|HALL_B_Pin|HALL_C_Pin;
  GPIO_InitStruct.Mode = GPIO_MODE_INPUT;
  GPIO_InitStruct.Pull = GPIO_NOPULL;
  HAL_GPIO_Init(GPIOC, &GPIO_InitStruct);

}

/* USER CODE BEGIN 4 */
// After TX complete, switch back to RX mode
void HAL_UART_TxCpltCallback(UART_HandleTypeDef *huart) {
    if (huart->Instance == USART1) {
        RS485_RX_ENABLE();
        HAL_UART_Receive_IT(&huart1, &rxByte, 1);
    }
}

void HAL_UART_RxCpltCallback(UART_HandleTypeDef *huart)
{
    if (huart->Instance == USART1) {

    	switch (rxState)
    	{
    		case STATE_WAIT_HEADER_1:
    			if (rxByte == 0xFF) {
    				packetBuffer[packetIndex++] = rxByte;
    				rxState = STATE_WAIT_HEADER_2;
    			}
    			break;
    		case STATE_WAIT_HEADER_2:
    			if (rxByte == 0xFF) {
					packetBuffer[packetIndex++] = rxByte;
					rxState = STATE_WAIT_HEADER_3;
				} else {
					rxState = STATE_WAIT_HEADER_1;
                    packetIndex = 0;
				}
    			break;
    		case STATE_WAIT_HEADER_3:
    			if (rxByte == 0xFD) {
					packetBuffer[packetIndex++] = rxByte;
					rxState = STATE_WAIT_RESERVED;
				} else {
					rxState = STATE_WAIT_HEADER_1;
                    packetIndex = 0;
				}
    			break;
    		case STATE_WAIT_RESERVED:
    			if (rxByte == 0x00) {
					packetBuffer[packetIndex++] = rxByte;
					rxState = STATE_RECEIVE_DATA;
				} else {
					rxState = STATE_WAIT_HEADER_1;
                    packetIndex = 0;
				}
    			break;
    		case STATE_RECEIVE_DATA:
                packetBuffer[packetIndex++] = rxByte;

                // Combines length into a single 16-bit number
                if (packetIndex == 7) {
                    packetLength = (uint16_t)(packetBuffer[6] << 8 | packetBuffer[5]);
                }

                // Total size = Header(4) + ID(1) + Len(2) + Length Value = 7 + packetLength
                if (packetIndex >= 7 && (packetIndex == (7 + packetLength))) {
                	bool tx_started = process_packet(packetBuffer, packetLength);
                	packetIndex = 0;
                	rxState = STATE_WAIT_HEADER_1;
                	// Stop listening while transmitting
                	if (tx_started) {
                		return;
                	}
                }
                break;
    		default:
    			rxState = STATE_WAIT_HEADER_1;
    			packetIndex = 0;
    			packetLength = 0;
    			break;

    	}
    	HAL_UART_Receive_IT(&huart1, &rxByte, 1);
    }
}

// ADC call back
void HAL_ADCEx_InjectedConvCpltCallback(ADC_HandleTypeDef *hadc)
{

	adc_cur_c = HAL_ADCEx_InjectedGetValue(&hadc1, ADC_INJECTED_RANK_1); // CH3 (PA3)
	adc_cur_b = HAL_ADCEx_InjectedGetValue(&hadc1, ADC_INJECTED_RANK_2); // CH14 (PC4)
	adc_cur_a = HAL_ADCEx_InjectedGetValue(&hadc1, ADC_INJECTED_RANK_3); // CH15 (PC5)
	convert_adc_to_current();
	getActivePhaseCurrent();

	if (motor_fault || !control_table.torque_enable) {
		return;
	}

	uint16_t pwm_duty = 0;
	if (control_table.operating_mode == PWM_CONTROL) {
		if (control_table.goal_pwm >= 0) {
			direction = CCW;
		} else {
			direction = CW;
		}
		pwm_duty = (uint16_t) fabs(control_table.goal_pwm);
	} else {
		pwm_duty = current_pi_controller();
	}

	control_table.present_pwm = pwm_duty;

	uint8_t hall_state = read_hall_sensors();

	if (direction == CW) {
	    sector = hall_to_sector_map_CW[hall_state & 0x07];
		sixStepCommutation(sector, pwm_duty);
	} else if (direction == CCW) {
	    sector = hall_to_sector_map_CCW[hall_state & 0x07];
	    sixStepCommutation(sector, pwm_duty);
	} else {
	    SetPhase_FLOAT(PHASE_A);
	    SetPhase_FLOAT(PHASE_B);
	    SetPhase_FLOAT(PHASE_C);
	}
}

void HAL_TIM_PeriodElapsedCallback(TIM_HandleTypeDef *htim)
{
  if (htim->Instance == TIM6)
  {
	counter++;
	control_table.realtime_tick = counter % 32768;

    calculate_speed_from_capture();
    update_angle_from_encoder();

    if (!control_table.torque_enable) {
        control_table.goal_current = 0;
        control_table.goal_velocity = 0;
        return;
    }

    float current_target = 0.0f;

        switch(control_table.operating_mode)
        {
            case POSITION_CONTROL:
            case EXTENDED_POSITION_CONTROL:
                // Position loop calculates a target velocity
                control_table.goal_velocity = position_pid_controller();
                // Execute velocity loop

            case VELOCITY_CONTROL:
                current_target = velocity_pid_controller();
                break;

            case CURRENT_CONTROL:
                current_target = control_table.goal_current;
                break;

            case PWM_CONTROL:
            default:
                return;
        }

        if (current_target > CURRENT_DEADPOINT) {
            direction = CCW;
        } else if (current_target < -CURRENT_DEADPOINT) {
            direction = CW;
        } else {
        	direction = STOPPED;
        	reset_pid_controllers();
        }

        control_table.goal_current = current_target;
  }
}

void HAL_TIM_IC_CaptureCallback(TIM_HandleTypeDef *htim)
{
  if (htim->Instance == TIM3 && htim->Channel == HAL_TIM_ACTIVE_CHANNEL_1)
  {
    ic_capture2 = HAL_TIM_ReadCapturedValue(htim, TIM_CHANNEL_1);
    capture_diff = ic_capture2 - ic_capture1;
    ic_capture1 = ic_capture2;

    if (!is_first_capture)
    {
      latest_pulse_period_s = (float)capture_diff / CAPTURE_TIMER_CLK_FREQ;
    }
    is_first_capture = 0;
  }
}

/* USER CODE END 4 */

void Error_Handler(void)
{
  __disable_irq();
  while (1)
  {
  }
}
